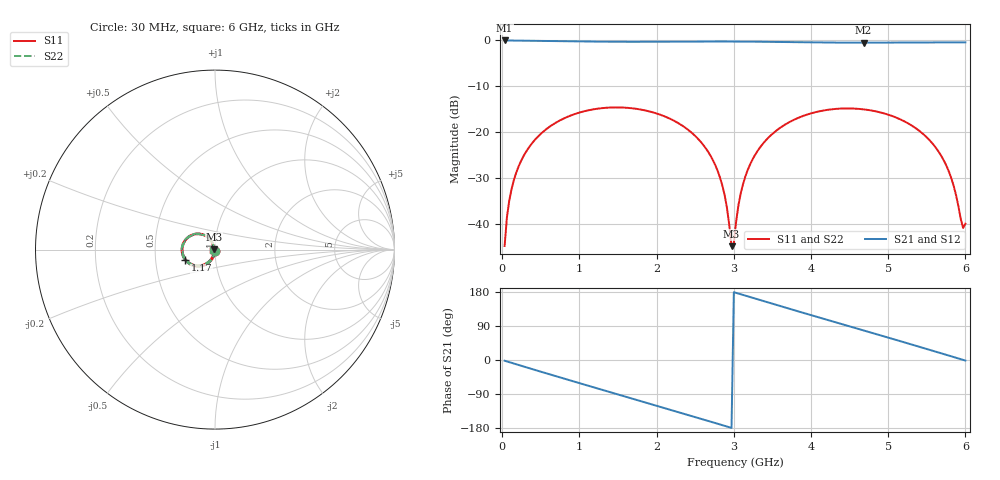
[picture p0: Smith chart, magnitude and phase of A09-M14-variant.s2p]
! yapnr Order 0 O0-M: O0-M A09 M1.4 30 (variant, family M1.4)
! stackup OSHPARK-4L-FR408HR, nominal parameters; geometry of the OSHPARK-4L-FR408HR design
! model: 2D quasi-static RLGC (Djordjevic-Sarkar, Huray roughness, Wheeler loss); generated by python -m yapnr.rf.coupons expected --stackup OSHPARK-4L-FR408HR --upload M
! reference planes 10 mm from each end; 50 ohm (from the M line's Zc)
# GHz S DB R 50
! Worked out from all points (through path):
!   200 points, 30 MHz to 6 GHz, reference 50 ohm
!   highest |S21| = -0.01 dB at 30 MHz (marker M1); lowest = -0.5 dB at 4.68 GHz (marker M2)
!   group delay of S21, straight-line fit = 167 ps
!   lowest |S11| = -44.9 dB at 2.97 GHz (marker M3), VSWR 1.01, Z = 49.5 + j0.235 ohm
!   |S11| at or under -10 dB: start of sweep to end of sweep
!   |S22| runs from -44.9 to -14.6 dB; largest |S21 - S12| = 0
!   S11 on the Smith chart (normalised r, x): 30 MHz: 1.00, -0.01; 1.17 GHz: 0.71, -0.09; 6 GHz: 0.98, -0.01
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0.03  -44.83 -83.7  -0.01 -1.9  -0.01 -1.9  -44.83 -83.7
0.06  -38.57 -88.6  -0.02 -3.8  -0.02 -3.8  -38.57 -88.6
0.12  -32.41 -94.3  -0.02 -7.5  -0.02 -7.5  -32.41 -94.3
0.3  -24.50 -107.0  -0.06 -18.6  -0.06 -18.6  -24.50 -107.0
0.6  -18.98 -126.1  -0.12 -37.0  -0.12 -37.0  -18.98 -126.1
1.05  -15.50 -153.5  -0.23 -64.1  -0.23 -64.1  -15.50 -153.5
1.17  -15.06 -160.6  -0.25 -71.2  -0.25 -71.2  -15.06 -160.6
2.04  -16.16 148.4  -0.29 -122.8  -0.29 -122.8  -16.16 148.4
2.7  -25.22 112.4  -0.24 -162.7  -0.24 -162.7  -25.22 112.4
2.88  -33.68 110.5  -0.24 -173.7  -0.24 -173.7  -33.68 110.5
2.97  -44.87 155.4  -0.24 -179.2  -0.24 -179.2  -44.87 155.4
3  -44.14 -147.4  -0.25 178.9  -0.25 178.9  -44.14 -147.4
3.03  -39.45 -122.0  -0.25 177.1  -0.25 177.1  -39.45 -122.0
3.15  -29.63 -109.2  -0.26 169.8  -0.26 169.8  -29.63 -109.2
3.33  -23.55 -115.5  -0.29 158.8  -0.29 158.8  -23.55 -115.5
4.02  -15.82 -153.7  -0.43 117.2  -0.43 117.2  -15.82 -153.7
4.68  -15.03 168.7  -0.49 78.1  -0.49 78.1  -15.03 168.7
5.01  -16.25 150.1  -0.48 58.5  -0.48 58.5  -16.25 150.1
5.64  -23.94 117.8  -0.43 20.5  -0.43 20.5  -23.94 117.8
5.82  -30.17 115.7  -0.43 9.6  -0.43 9.6  -30.17 115.7
5.97  -40.90 172.6  -0.43 0.4  -0.43 0.4  -40.90 172.6
6  -39.97 -154.7  -0.44 -1.4  -0.44 -1.4  -39.97 -154.7
